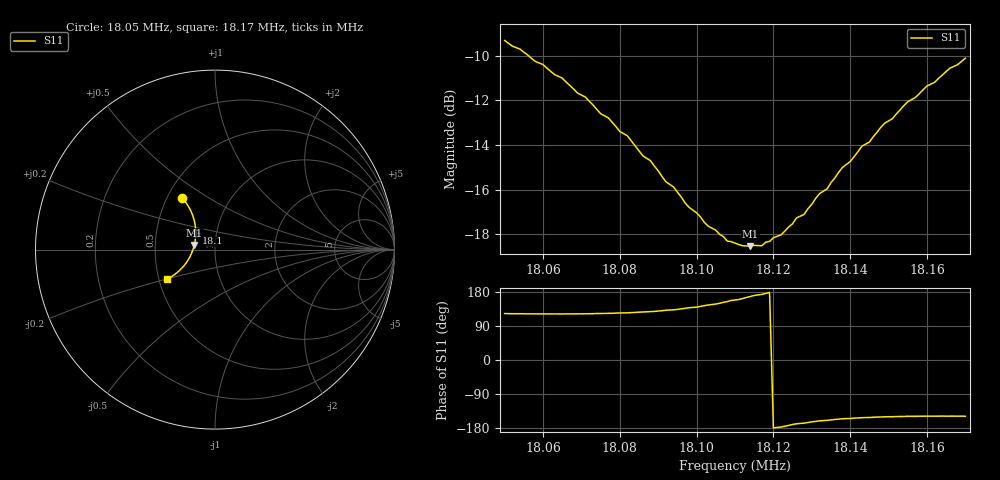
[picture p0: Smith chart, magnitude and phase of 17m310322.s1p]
# MHz S MA R 50
!  freq  S11
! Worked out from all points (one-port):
!   100 points, 18.05 MHz to 18.17 MHz, reference 50 ohm
!   lowest |S11| = -18.5 dB at 18.114 MHz (marker M1), VSWR 1.27, Z = 39.6 + j2.03 ohm
!   |S11| at or under -10 dB: 18.0562 MHz to end of sweep
!   S11 on the Smith chart (normalised r, x): 18.05 MHz: 0.60, +0.39; 18.1 MHz: 0.79, +0.15; 18.17 MHz: 0.55, -0.20
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18.05  0.3419 122.5
18.065  0.2816 121.5
18.077  0.2294 123.1
18.08  0.2139 124.0
18.082  0.2091 124.5
18.086  0.1887 126.7
18.088  0.1839 127.7
18.095  0.1564 133.4
18.098  0.1447 138.0
18.1  0.1406 139.4
18.103  0.1313 145.2
18.108  0.1215 154.3
18.111  0.1194 159.6
18.114  0.1184 167.6
18.117  0.1186 173.1
18.122  0.1255 -176.7
18.125  0.1329 -170.2
18.126  0.1369 -168.4
18.128  0.1395 -166.6
18.132  0.1552 -160.6
18.134  0.1591 -159.2
18.138  0.1777 -154.9
18.14  0.1831 -154.4
18.143  0.1981 -152.2
18.145  0.2025 -151.7
18.148  0.2186 -150.4
18.155  0.2493 -148.6
18.17  0.312 -148.4
